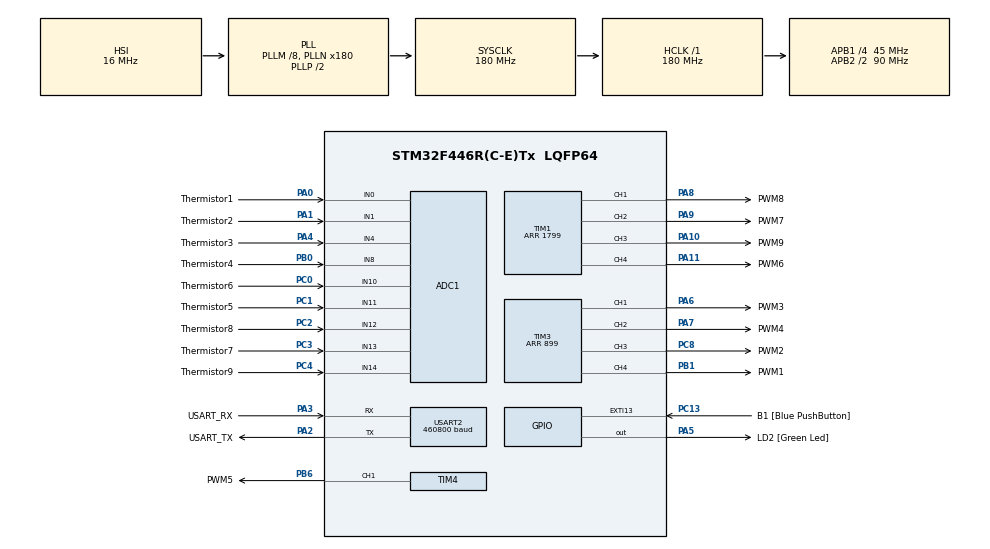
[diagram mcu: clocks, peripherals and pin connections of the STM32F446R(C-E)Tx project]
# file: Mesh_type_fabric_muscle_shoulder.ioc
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ADC1.Channel-0\#ChannelRegularConversion=ADC_CHANNEL_0
ADC1.Channel-10\#ChannelRegularConversion=ADC_CHANNEL_11
ADC1.Channel-11\#ChannelRegularConversion=ADC_CHANNEL_12
ADC1.Channel-12\#ChannelRegularConversion=ADC_CHANNEL_13
ADC1.Channel-13\#ChannelRegularConversion=ADC_CHANNEL_14
ADC1.Channel-5\#ChannelRegularConversion=ADC_CHANNEL_1
ADC1.Channel-6\#ChannelRegularConversion=ADC_CHANNEL_4
ADC1.Channel-8\#ChannelRegularConversion=ADC_CHANNEL_8
ADC1.Channel-9\#ChannelRegularConversion=ADC_CHANNEL_10
ADC1.ContinuousConvMode=ENABLE
ADC1.DMAContinuousRequests=ENABLE
ADC1.EOCSelection=ADC_EOC_SEQ_CONV
ADC1.ExternalTrigConv=ADC_EXTERNALTRIGCONV_T8_TRGO
ADC1.InjNumberOfConversion=0
ADC1.NbrOfConversion=9
ADC1.NbrOfConversionFlag=1
ADC1.Rank-0\#ChannelRegularConversion=1
ADC1.Rank-10\#ChannelRegularConversion=6
ADC1.Rank-11\#ChannelRegularConversion=7
ADC1.Rank-12\#ChannelRegularConversion=8
ADC1.Rank-13\#ChannelRegularConversion=9
ADC1.Rank-5\#ChannelRegularConversion=2
ADC1.Rank-6\#ChannelRegularConversion=3
ADC1.Rank-8\#ChannelRegularConversion=4
ADC1.Rank-9\#ChannelRegularConversion=5
ADC1.SamplingTime-0\#ChannelRegularConversion=ADC_SAMPLETIME_480CYCLES
ADC1.SamplingTime-10\#ChannelRegularConversion=ADC_SAMPLETIME_480CYCLES
ADC1.SamplingTime-11\#ChannelRegularConversion=ADC_SAMPLETIME_480CYCLES
ADC1.SamplingTime-12\#ChannelRegularConversion=ADC_SAMPLETIME_480CYCLES
ADC1.SamplingTime-13\#ChannelRegularConversion=ADC_SAMPLETIME_480CYCLES
ADC1.SamplingTime-5\#ChannelRegularConversion=ADC_SAMPLETIME_480CYCLES
ADC1.SamplingTime-6\#ChannelRegularConversion=ADC_SAMPLETIME_480CYCLES
ADC1.SamplingTime-8\#ChannelRegularConversion=ADC_SAMPLETIME_480CYCLES
ADC1.SamplingTime-9\#ChannelRegularConversion=ADC_SAMPLETIME_480CYCLES
ADC1.ScanConvMode=ENABLE
ADC1.master=1
Dma.ADC1.0.Direction=DMA_PERIPH_TO_MEMORY
Dma.ADC1.0.FIFOMode=DMA_FIFOMODE_DISABLE
Dma.ADC1.0.Instance=DMA2_Stream0
Dma.ADC1.0.MemDataAlignment=DMA_MDATAALIGN_HALFWORD
Dma.ADC1.0.MemInc=DMA_MINC_ENABLE
Dma.ADC1.0.Mode=DMA_CIRCULAR
Dma.ADC1.0.PeriphDataAlignment=DMA_PDATAALIGN_HALFWORD
Dma.ADC1.0.PeriphInc=DMA_PINC_DISABLE
Dma.ADC1.0.Priority=DMA_PRIORITY_LOW
Dma.Request0=ADC1
Dma.Request1=USART2_RX
Dma.USART2_RX.1.Direction=DMA_PERIPH_TO_MEMORY
Dma.USART2_RX.1.FIFOMode=DMA_FIFOMODE_DISABLE
Dma.USART2_RX.1.Instance=DMA1_Stream5
Dma.USART2_RX.1.MemDataAlignment=DMA_MDATAALIGN_BYTE
Dma.USART2_RX.1.MemInc=DMA_MINC_ENABLE
Dma.USART2_RX.1.Mode=DMA_CIRCULAR
Dma.USART2_RX.1.PeriphDataAlignment=DMA_PDATAALIGN_BYTE
Dma.USART2_RX.1.PeriphInc=DMA_PINC_DISABLE
Dma.USART2_RX.1.Priority=DMA_PRIORITY_LOW
Mcu.Family=STM32F4
Mcu.Name=STM32F446R(C-E)Tx
Mcu.Package=LQFP64
NVIC.ADC_IRQn=true\:0\:0\:false\:false\:true\:true\:true\:true
NVIC.DMA1_Stream5_IRQn=true\:0\:0\:false\:false\:true\:false\:true\:true
NVIC.DMA2_Stream0_IRQn=true\:0\:0\:false\:false\:true\:false\:true\:true
NVIC.PriorityGroup=NVIC_PRIORITYGROUP_0
NVIC.TIM2_IRQn=true\:0\:0\:false\:false\:true\:true\:true\:true
NVIC.USART2_IRQn=true\:0\:0\:false\:false\:true\:true\:true\:true
PA0-WKUP.GPIO_Label=Thermistor1
PA0-WKUP.Signal=ADCx_IN0
PA1.GPIO_Label=Thermistor2
PA1.Signal=ADCx_IN1
PA10.GPIO_Label=PWM9
PA10.GPIO_Speed=GPIO_SPEED_FREQ_VERY_HIGH
PA10.Signal=S_TIM1_CH3
PA11.GPIO_Label=PWM6
PA11.GPIO_Speed=GPIO_SPEED_FREQ_VERY_HIGH
PA11.Signal=S_TIM1_CH4
PA13.GPIO_Label=TMS
PA13.Mode=Serial_Wire
PA13.Signal=SYS_JTMS-SWDIO
PA14.GPIO_Label=TCK
PA14.Mode=Serial_Wire
PA14.Signal=SYS_JTCK-SWCLK
PA2.GPIO_Label=USART_TX
PA2.Mode=Asynchronous
PA2.Signal=USART2_TX
PA3.GPIO_Label=USART_RX
PA3.Mode=Asynchronous
PA3.Signal=USART2_RX
PA4.GPIO_Label=Thermistor3
PA4.Signal=ADCx_IN4
PA5.GPIO_Label=LD2 [Green Led]
PA5.Signal=GPIO_Output
PA6.GPIO_Label=PWM3
PA6.GPIO_Speed=GPIO_SPEED_FREQ_VERY_HIGH
PA6.Signal=S_TIM3_CH1
PA7.GPIO_Label=PWM4
PA7.GPIO_Speed=GPIO_SPEED_FREQ_VERY_HIGH
PA7.Signal=S_TIM3_CH2
PA8.GPIO_Label=PWM8
PA8.GPIO_Speed=GPIO_SPEED_FREQ_VERY_HIGH
PA8.Signal=S_TIM1_CH1
PA9.GPIO_Label=PWM7
PA9.GPIO_Speed=GPIO_SPEED_FREQ_VERY_HIGH
PA9.Signal=S_TIM1_CH2
PB0.GPIO_Label=Thermistor4
PB0.Signal=ADCx_IN8
PB1.GPIO_Label=PWM1
PB1.GPIO_Speed=GPIO_SPEED_FREQ_VERY_HIGH
PB1.Signal=S_TIM3_CH4
PB3.GPIO_Label=SWO
PB3.Signal=SYS_JTDO-SWO
PB6.GPIO_Label=PWM5
PB6.GPIO_Speed=GPIO_SPEED_FREQ_VERY_HIGH
PB6.Signal=S_TIM4_CH1
PC0.GPIO_Label=Thermistor6
PC0.Signal=ADCx_IN10
PC1.GPIO_Label=Thermistor5
PC1.Signal=ADCx_IN11
PC13.GPIO_Label=B1 [Blue PushButton]
PC13.GPIO_ModeDefaultEXTI=GPIO_MODE_IT_FALLING
PC13.Signal=GPXTI13
PC14-OSC32_IN.Mode=LSE-External-Oscillator
PC14-OSC32_IN.Signal=RCC_OSC32_IN
PC15-OSC32_OUT.Mode=LSE-External-Oscillator
PC15-OSC32_OUT.Signal=RCC_OSC32_OUT
PC2.GPIO_Label=Thermistor8
PC2.Signal=ADCx_IN12
PC3.GPIO_Label=Thermistor7
PC3.Signal=ADCx_IN13
PC4.GPIO_Label=Thermistor9
PC4.Signal=ADCx_IN14
PC8.GPIO_Label=PWM2
PC8.GPIO_Speed=GPIO_SPEED_FREQ_VERY_HIGH
PC8.Signal=S_TIM3_CH3
PH0-OSC_IN.Mode=HSE-External-Oscillator
PH0-OSC_IN.Signal=RCC_OSC_IN
PH1-OSC_OUT.Mode=HSE-External-Oscillator
PH1-OSC_OUT.Signal=RCC_OSC_OUT
ProjectManager.HeapSize=0x200
ProjectManager.StackSize=0x400
ProjectManager.TargetToolchain=STM32CubeIDE
RCC.48MHZClocksFreq_Value=84000000
RCC.AHBFreq_Value=180000000
RCC.APB1CLKDivider=RCC_HCLK_DIV4
RCC.APB1Freq_Value=45000000
RCC.APB1TimFreq_Value=90000000
RCC.APB2CLKDivider=RCC_HCLK_DIV2
RCC.APB2Freq_Value=90000000
RCC.APB2TimFreq_Value=180000000
RCC.CortexFreq_Value=180000000
RCC.FLatency-AdvancedSettings=FLASH_LATENCY_5
RCC.HCLKFreq_Value=180000000
RCC.HSE_VALUE=8000000
RCC.HSI_VALUE=16000000
RCC.PLLM=8
RCC.PLLN=180
RCC.SYSCLKFreq_VALUE=180000000
RCC.SYSCLKSource=RCC_SYSCLKSOURCE_PLLCLK
RCC.USBFreq_Value=180000000
RCC.VCOOutputFreq_Value=360000000
SH.ADCx_IN0.0=ADC1_IN0,IN0
SH.ADCx_IN1.0=ADC1_IN1,IN1
SH.ADCx_IN10.0=ADC1_IN10,IN10
SH.ADCx_IN11.0=ADC1_IN11,IN11
SH.ADCx_IN12.0=ADC1_IN12,IN12
SH.ADCx_IN13.0=ADC1_IN13,IN13
SH.ADCx_IN14.0=ADC1_IN14,IN14
SH.ADCx_IN4.0=ADC1_IN4,IN4
SH.ADCx_IN8.0=ADC1_IN8,IN8
SH.S_TIM1_CH1.0=TIM1_CH1,PWM Generation1 CH1
SH.S_TIM1_CH2.0=TIM1_CH2,PWM Generation2 CH2
SH.S_TIM1_CH3.0=TIM1_CH3,PWM Generation3 CH3
SH.S_TIM1_CH4.0=TIM1_CH4,PWM Generation4 CH4
SH.S_TIM3_CH1.0=TIM3_CH1,PWM Generation1 CH1
SH.S_TIM3_CH2.0=TIM3_CH2,PWM Generation2 CH2
SH.S_TIM3_CH3.0=TIM3_CH3,PWM Generation3 CH3
SH.S_TIM3_CH4.0=TIM3_CH4,PWM Generation4 CH4
SH.S_TIM4_CH1.0=TIM4_CH1,PWM Generation1 CH1
TIM1.AutoReloadPreload=TIM_AUTORELOAD_PRELOAD_DISABLE
TIM1.Channel-PWM\ Generation1\ CH1=TIM_CHANNEL_1
TIM1.Channel-PWM\ Generation2\ CH2=TIM_CHANNEL_2
TIM1.Channel-PWM\ Generation3\ CH3=TIM_CHANNEL_3
TIM1.Channel-PWM\ Generation4\ CH4=TIM_CHANNEL_4
TIM1.Period=1799
TIM2.Period=899999
TIM2.TIM_MasterOutputTrigger=TIM_TRGO_UPDATE
TIM3.AutoReloadPreload=TIM_AUTORELOAD_PRELOAD_DISABLE
TIM3.Channel-PWM\ Generation1\ CH1=TIM_CHANNEL_1
TIM3.Channel-PWM\ Generation2\ CH2=TIM_CHANNEL_2
TIM3.Channel-PWM\ Generation3\ CH3=TIM_CHANNEL_3
TIM3.Channel-PWM\ Generation4\ CH4=TIM_CHANNEL_4
TIM3.Period=899
TIM4.AutoReloadPreload=TIM_AUTORELOAD_PRELOAD_DISABLE
TIM4.Channel-PWM\ Generation1\ CH1=TIM_CHANNEL_1
TIM4.Period=899
TIM8.Period=9999
TIM8.Prescaler=17
TIM8.TIM_MasterOutputTrigger=TIM_TRGO_UPDATE
USART2.BaudRate=460800
USART2.VirtualMode=VM_ASYNC
VP_TIM1_VS_ClockSourceINT.Mode=Internal
VP_TIM2_VS_ClockSourceINT.Mode=Internal
VP_TIM3_VS_ClockSourceINT.Mode=Internal
VP_TIM4_VS_ClockSourceINT.Mode=Internal
VP_TIM8_VS_ClockSourceINT.Mode=Internal
board=NUCLEO-F446RE

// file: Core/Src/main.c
/* USER CODE BEGIN Header */
/**
  ******************************************************************************
  * @file           : main.c
  * @brief          : Main program body
  ******************************************************************************
  * @attention
  *
  * Copyright (c) 2025 STMicroelectronics.
  * All rights reserved.
  *
  * This software is licensed under terms that can be found in the LICENSE file
  * in the root directory of this software component.
  * If no LICENSE file comes with this software, it is provided AS-IS.
  *
  ******************************************************************************
  */
/* USER CODE END Header */
#include "main.h"

/* USER CODE BEGIN Includes */
#include <stdio.h>
#include <stdbool.h>
#include <stdint.h>
#include <string.h>
#include "ma100bf103a.h"
#include "pidcontroller.h"
/* USER CODE END Includes */

/* USER CODE BEGIN PTD */
#define CHANNELS 9
#define THERMISTOR_SAMPLES 10
#define USART2_RX_BUFFER_SIZE  128
/* USER CODE END PTD */

ADC_HandleTypeDef hadc1;
DMA_HandleTypeDef hdma_adc1;

TIM_HandleTypeDef htim1;
TIM_HandleTypeDef htim2;
TIM_HandleTypeDef htim3;
TIM_HandleTypeDef htim4;
TIM_HandleTypeDef htim8;

UART_HandleTypeDef huart2;
DMA_HandleTypeDef hdma_usart2_rx;

/* USER CODE BEGIN PV */
volatile bool isMainFlag = false;
volatile bool isAdcFlag = false;

static uint16_t adcBuf[CHANNELS * THERMISTOR_SAMPLES];
volatile uint16_t adcMAF[CHANNELS];

typedef struct {
    TIM_HandleTypeDef *htim;
    uint32_t           channel;
    uint16_t           raw;     /* ADC 원시값 */
    float              temp;    /* 변환된 온도(°C) */
    float              set;     /* 목표 온도(°C) */
    PID_t              pid;     /* PID 상태 */
} Controller;

static Controller ctrl[CHANNELS] = {
		{ &htim3, TIM_CHANNEL_1 }, { &htim3, TIM_CHANNEL_2 }, { &htim3, TIM_CHANNEL_3 }, { &htim3, TIM_CHANNEL_4 },
	    { &htim4, TIM_CHANNEL_1 },
		{ &htim1, TIM_CHANNEL_1 }, { &htim1, TIM_CHANNEL_2 }, { &htim1, TIM_CHANNEL_3 }, { &htim1, TIM_CHANNEL_4 }
	};

static uint32_t lastCnt8;

uint8_t usart2_rx_buffer[USART2_RX_BUFFER_SIZE];
/* USER CODE END PV */

void SystemClock_Config(void);
static void MX_GPIO_Init(void);
static void MX_DMA_Init(void);
static void MX_USART2_UART_Init(void);
static void MX_ADC1_Init(void);
static void MX_TIM2_Init(void);
static void MX_TIM1_Init(void);
static void MX_TIM3_Init(void);
static void MX_TIM4_Init(void);
static void MX_TIM8_Init(void);
/* USER CODE BEGIN PFP */
int _write(int file, char* p, int len){
    HAL_UART_Transmit(&huart2, (uint8_t*)p, len, 1);
    return len;
}
static float GetDeltaTime(void);
void ControlInit(void);
/* USER CODE END PFP */

int main(void)
{

  /* MCU Configuration--------------------------------------------------------*/

  /* Reset of all peripherals, Initializes the Flash interface and the Systick. */
  HAL_Init();

  /* Configure the system clock */
  SystemClock_Config();

  /* Initialize all configured peripherals */
  MX_GPIO_Init();
  MX_DMA_Init();
  MX_USART2_UART_Init();
  MX_ADC1_Init();
  MX_TIM2_Init();
  MX_TIM1_Init();
  MX_TIM3_Init();
  MX_TIM4_Init();
  MX_TIM8_Init();
  /* USER CODE BEGIN 2 */
  HAL_TIM_Base_Start_IT(&htim2);
  HAL_TIM_Base_Start(&htim8);
  HAL_ADC_Start_DMA(&hadc1, (uint32_t*)adcBuf, CHANNELS * THERMISTOR_SAMPLES);
  ControlInit();
  /* USER CODE END 2 */

  /* Infinite loop */
  /* USER CODE BEGIN WHILE */
  while (1)
  {
	  if(isMainFlag == true && isAdcFlag == true){
		  isMainFlag = false;
		  isAdcFlag = false;

		  float dt = GetDeltaTime();

		  for(int ch = 0; ch < CHANNELS; ch++) {
			  ctrl[ch].raw = adcMAF[ch];
			  ctrl[ch].temp = thermistor_celsius(ctrl[ch].raw);

		  float duty = PID_Update(&ctrl[ch].pid, ctrl[ch].set,ctrl[ch].temp, dt);
		  uint32_t period = __HAL_TIM_GET_AUTORELOAD(ctrl[ch].htim) + 1;
		  uint32_t pulse  = (uint32_t)(duty * period * 0.01f);
		  __HAL_TIM_SET_COMPARE(ctrl[ch].htim, ctrl[ch].channel, pulse);
		  }

		  printf("%.2f\r\n", ctrl[0].temp);
	  }
    /* USER CODE END WHILE */

  }
}

void SystemClock_Config(void)
{
  RCC_OscInitTypeDef RCC_OscInitStruct = {0};
  RCC_ClkInitTypeDef RCC_ClkInitStruct = {0};

  /** Configure the main internal regulator output voltage
  */
  __HAL_RCC_PWR_CLK_ENABLE();
  __HAL_PWR_VOLTAGESCALING_CONFIG(PWR_REGULATOR_VOLTAGE_SCALE1);

  /** Initializes the RCC Oscillators according to the specified parameters
  * in the RCC_OscInitTypeDef structure.
  */
  RCC_OscInitStruct.OscillatorType = RCC_OSCILLATORTYPE_HSI;
  RCC_OscInitStruct.HSIState = RCC_HSI_ON;
  RCC_OscInitStruct.HSICalibrationValue = RCC_HSICALIBRATION_DEFAULT;
  RCC_OscInitStruct.PLL.PLLState = RCC_PLL_ON;
  RCC_OscInitStruct.PLL.PLLSource = RCC_PLLSOURCE_HSI;
  RCC_OscInitStruct.PLL.PLLM = 8;
  RCC_OscInitStruct.PLL.PLLN = 180;
  RCC_OscInitStruct.PLL.PLLP = RCC_PLLP_DIV2;
  RCC_OscInitStruct.PLL.PLLQ = 2;
  RCC_OscInitStruct.PLL.PLLR = 2;
  if (HAL_RCC_OscConfig(&RCC_OscInitStruct) != HAL_OK)
  {
    Error_Handler();
  }

  /** Activate the Over-Drive mode
  */
  if (HAL_PWREx_EnableOverDrive() != HAL_OK)
  {
    Error_Handler();
  }

  /** Initializes the CPU, AHB and APB buses clocks
  */
  RCC_ClkInitStruct.ClockType = RCC_CLOCKTYPE_HCLK|RCC_CLOCKTYPE_SYSCLK
                              |RCC_CLOCKTYPE_PCLK1|RCC_CLOCKTYPE_PCLK2;
  RCC_ClkInitStruct.SYSCLKSource = RCC_SYSCLKSOURCE_PLLCLK;
  RCC_ClkInitStruct.AHBCLKDivider = RCC_SYSCLK_DIV1;
  RCC_ClkInitStruct.APB1CLKDivider = RCC_HCLK_DIV4;
  RCC_ClkInitStruct.APB2CLKDivider = RCC_HCLK_DIV2;

  if (HAL_RCC_ClockConfig(&RCC_ClkInitStruct, FLASH_LATENCY_5) != HAL_OK)
  {
    Error_Handler();
  }
}

static void MX_ADC1_Init(void)
{

  ADC_ChannelConfTypeDef sConfig = {0};

  /** Configure the global features of the ADC (Clock, Resolution, Data Alignment and number of conversion)
  */
  hadc1.Instance = ADC1;
  hadc1.Init.ClockPrescaler = ADC_CLOCK_SYNC_PCLK_DIV4;
  hadc1.Init.Resolution = ADC_RESOLUTION_12B;
  hadc1.Init.ScanConvMode = ENABLE;
  hadc1.Init.ContinuousConvMode = ENABLE;
  hadc1.Init.DiscontinuousConvMode = DISABLE;
  hadc1.Init.ExternalTrigConvEdge = ADC_EXTERNALTRIGCONVEDGE_RISING;
  hadc1.Init.ExternalTrigConv = ADC_EXTERNALTRIGCONV_T8_TRGO;
  hadc1.Init.DataAlign = ADC_DATAALIGN_RIGHT;
  hadc1.Init.NbrOfConversion = 9;
  hadc1.Init.DMAContinuousRequests = ENABLE;
  hadc1.Init.EOCSelection = ADC_EOC_SEQ_CONV;
  if (HAL_ADC_Init(&hadc1) != HAL_OK)
  {
    Error_Handler();
  }

  /** Configure for the selected ADC regular channel its corresponding rank in the sequencer and its sample time.
  */
  sConfig.Channel = ADC_CHANNEL_0;
  sConfig.Rank = 1;
  sConfig.SamplingTime = ADC_SAMPLETIME_480CYCLES;
  if (HAL_ADC_ConfigChannel(&hadc1, &sConfig) != HAL_OK)
  {
    Error_Handler();
  }

  /** Configure for the selected ADC regular channel its corresponding rank in the sequencer and its sample time.
  */
  sConfig.Channel = ADC_CHANNEL_1;
  sConfig.Rank = 2;
  if (HAL_ADC_ConfigChannel(&hadc1, &sConfig) != HAL_OK)
  {
    Error_Handler();
  }

  /** Configure for the selected ADC regular channel its corresponding rank in the sequencer and its sample time.
  */
  sConfig.Channel = ADC_CHANNEL_4;
  sConfig.Rank = 3;
  if (HAL_ADC_ConfigChannel(&hadc1, &sConfig) != HAL_OK)
  {
    Error_Handler();
  }

  /** Configure for the selected ADC regular channel its corresponding rank in the sequencer and its sample time.
  */
  sConfig.Channel = ADC_CHANNEL_8;
  sConfig.Rank = 4;
  if (HAL_ADC_ConfigChannel(&hadc1, &sConfig) != HAL_OK)
  {
    Error_Handler();
  }

  /** Configure for the selected ADC regular channel its corresponding rank in the sequencer and its sample time.
  */
  sConfig.Channel = ADC_CHANNEL_10;
  sConfig.Rank = 5;
  if (HAL_ADC_ConfigChannel(&hadc1, &sConfig) != HAL_OK)
  {
    Error_Handler();
  }

  /** Configure for the selected ADC regular channel its corresponding rank in the sequencer and its sample time.
  */
  sConfig.Channel = ADC_CHANNEL_11;
  sConfig.Rank = 6;
  if (HAL_ADC_ConfigChannel(&hadc1, &sConfig) != HAL_OK)
  {
    Error_Handler();
  }

  /** Configure for the selected ADC regular channel its corresponding rank in the sequencer and its sample time.
  */
  sConfig.Channel = ADC_CHANNEL_12;
  sConfig.Rank = 7;
  if (HAL_ADC_ConfigChannel(&hadc1, &sConfig) != HAL_OK)
  {
    Error_Handler();
  }

  /** Configure for the selected ADC regular channel its corresponding rank in the sequencer and its sample time.
  */
  sConfig.Channel = ADC_CHANNEL_13;
  sConfig.Rank = 8;
  if (HAL_ADC_ConfigChannel(&hadc1, &sConfig) != HAL_OK)
  {
    Error_Handler();
  }

  /** Configure for the selected ADC regular channel its corresponding rank in the sequencer and its sample time.
  */
  sConfig.Channel = ADC_CHANNEL_14;
  sConfig.Rank = 9;
  if (HAL_ADC_ConfigChannel(&hadc1, &sConfig) != HAL_OK)
  {
    Error_Handler();
  }

}

static void MX_TIM1_Init(void)
{

  TIM_ClockConfigTypeDef sClockSourceConfig = {0};
  TIM_MasterConfigTypeDef sMasterConfig = {0};
  TIM_OC_InitTypeDef sConfigOC = {0};
  TIM_BreakDeadTimeConfigTypeDef sBreakDeadTimeConfig = {0};

  htim1.Instance = TIM1;
  htim1.Init.Prescaler = 0;
  htim1.Init.CounterMode = TIM_COUNTERMODE_UP;
  htim1.Init.Period = 1799;
  htim1.Init.ClockDivision = TIM_CLOCKDIVISION_DIV1;
  htim1.Init.RepetitionCounter = 0;
  htim1.Init.AutoReloadPreload = TIM_AUTORELOAD_PRELOAD_DISABLE;
  if (HAL_TIM_Base_Init(&htim1) != HAL_OK)
  {
    Error_Handler();
  }
  sClockSourceConfig.ClockSource = TIM_CLOCKSOURCE_INTERNAL;
  if (HAL_TIM_ConfigClockSource(&htim1, &sClockSourceConfig) != HAL_OK)
  {
    Error_Handler();
  }
  if (HAL_TIM_PWM_Init(&htim1) != HAL_OK)
  {
    Error_Handler();
  }
  sMasterConfig.MasterOutputTrigger = TIM_TRGO_RESET;
  sMasterConfig.MasterSlaveMode = TIM_MASTERSLAVEMODE_DISABLE;
  if (HAL_TIMEx_MasterConfigSynchronization(&htim1, &sMasterConfig) != HAL_OK)
  {
    Error_Handler();
  }
  sConfigOC.OCMode = TIM_OCMODE_PWM1;
  sConfigOC.Pulse = 0;
  sConfigOC.OCPolarity = TIM_OCPOLARITY_HIGH;
  sConfigOC.OCNPolarity = TIM_OCNPOLARITY_HIGH;
  sConfigOC.OCFastMode = TIM_OCFAST_DISABLE;
  sConfigOC.OCIdleState = TIM_OCIDLESTATE_RESET;
  sConfigOC.OCNIdleState = TIM_OCNIDLESTATE_RESET;
  if (HAL_TIM_PWM_ConfigChannel(&htim1, &sConfigOC, TIM_CHANNEL_1) != HAL_OK)
  {
    Error_Handler();
  }
  if (HAL_TIM_PWM_ConfigChannel(&htim1, &sConfigOC, TIM_CHANNEL_2) != HAL_OK)
  {
    Error_Handler();
  }
  if (HAL_TIM_PWM_ConfigChannel(&htim1, &sConfigOC, TIM_CHANNEL_3) != HAL_OK)
  {
    Error_Handler();
  }
  if (HAL_TIM_PWM_ConfigChannel(&htim1, &sConfigOC, TIM_CHANNEL_4) != HAL_OK)
  {
    Error_Handler();
  }
  sBreakDeadTimeConfig.OffStateRunMode = TIM_OSSR_DISABLE;
  sBreakDeadTimeConfig.OffStateIDLEMode = TIM_OSSI_DISABLE;
  sBreakDeadTimeConfig.LockLevel = TIM_LOCKLEVEL_OFF;
  sBreakDeadTimeConfig.DeadTime = 0;
  sBreakDeadTimeConfig.BreakState = TIM_BREAK_DISABLE;
  sBreakDeadTimeConfig.BreakPolarity = TIM_BREAKPOLARITY_HIGH;
  sBreakDeadTimeConfig.AutomaticOutput = TIM_AUTOMATICOUTPUT_DISABLE;
  if (HAL_TIMEx_ConfigBreakDeadTime(&htim1, &sBreakDeadTimeConfig) != HAL_OK)
  {
    Error_Handler();
  }
  HAL_TIM_MspPostInit(&htim1);

}

static void MX_TIM2_Init(void)
{

  TIM_ClockConfigTypeDef sClockSourceConfig = {0};
  TIM_MasterConfigTypeDef sMasterConfig = {0};

  htim2.Instance = TIM2;
  htim2.Init.Prescaler = 0;
  htim2.Init.CounterMode = TIM_COUNTERMODE_UP;
  htim2.Init.Period = 899999;
  htim2.Init.ClockDivision = TIM_CLOCKDIVISION_DIV1;
  htim2.Init.AutoReloadPreload = TIM_AUTORELOAD_PRELOAD_DISABLE;
  if (HAL_TIM_Base_Init(&htim2) != HAL_OK)
  {
    Error_Handler();
  }
  sClockSourceConfig.ClockSource = TIM_CLOCKSOURCE_INTERNAL;
  if (HAL_TIM_ConfigClockSource(&htim2, &sClockSourceConfig) != HAL_OK)
  {
    Error_Handler();
  }
  sMasterConfig.MasterOutputTrigger = TIM_TRGO_UPDATE;
  sMasterConfig.MasterSlaveMode = TIM_MASTERSLAVEMODE_DISABLE;
  if (HAL_TIMEx_MasterConfigSynchronization(&htim2, &sMasterConfig) != HAL_OK)
  {
    Error_Handler();
  }

}

static void MX_TIM3_Init(void)
{

  TIM_ClockConfigTypeDef sClockSourceConfig = {0};
  TIM_MasterConfigTypeDef sMasterConfig = {0};
  TIM_OC_InitTypeDef sConfigOC = {0};

  htim3.Instance = TIM3;
  htim3.Init.Prescaler = 0;
  htim3.Init.CounterMode = TIM_COUNTERMODE_UP;
  htim3.Init.Period = 899;
  htim3.Init.ClockDivision = TIM_CLOCKDIVISION_DIV1;
  htim3.Init.AutoReloadPreload = TIM_AUTORELOAD_PRELOAD_DISABLE;
  if (HAL_TIM_Base_Init(&htim3) != HAL_OK)
  {
    Error_Handler();
  }
  sClockSourceConfig.ClockSource = TIM_CLOCKSOURCE_INTERNAL;
  if (HAL_TIM_ConfigClockSource(&htim3, &sClockSourceConfig) != HAL_OK)
  {
    Error_Handler();
  }
  if (HAL_TIM_PWM_Init(&htim3) != HAL_OK)
  {
    Error_Handler();
  }
  sMasterConfig.MasterOutputTrigger = TIM_TRGO_RESET;
  sMasterConfig.MasterSlaveMode = TIM_MASTERSLAVEMODE_DISABLE;
  if (HAL_TIMEx_MasterConfigSynchronization(&htim3, &sMasterConfig) != HAL_OK)
  {
    Error_Handler();
  }
  sConfigOC.OCMode = TIM_OCMODE_PWM1;
  sConfigOC.Pulse = 0;
  sConfigOC.OCPolarity = TIM_OCPOLARITY_HIGH;
  sConfigOC.OCFastMode = TIM_OCFAST_DISABLE;
  if (HAL_TIM_PWM_ConfigChannel(&htim3, &sConfigOC, TIM_CHANNEL_1) != HAL_OK)
  {
    Error_Handler();
  }
  if (HAL_TIM_PWM_ConfigChannel(&htim3, &sConfigOC, TIM_CHANNEL_2) != HAL_OK)
  {
    Error_Handler();
  }
  if (HAL_TIM_PWM_ConfigChannel(&htim3, &sConfigOC, TIM_CHANNEL_3) != HAL_OK)
  {
    Error_Handler();
  }
  if (HAL_TIM_PWM_ConfigChannel(&htim3, &sConfigOC, TIM_CHANNEL_4) != HAL_OK)
  {
    Error_Handler();
  }
  HAL_TIM_MspPostInit(&htim3);

}

static void MX_TIM4_Init(void)
{

  TIM_ClockConfigTypeDef sClockSourceConfig = {0};
  TIM_MasterConfigTypeDef sMasterConfig = {0};
  TIM_OC_InitTypeDef sConfigOC = {0};

  htim4.Instance = TIM4;
  htim4.Init.Prescaler = 0;
  htim4.Init.CounterMode = TIM_COUNTERMODE_UP;
  htim4.Init.Period = 899;
  htim4.Init.ClockDivision = TIM_CLOCKDIVISION_DIV1;
  htim4.Init.AutoReloadPreload = TIM_AUTORELOAD_PRELOAD_DISABLE;
  if (HAL_TIM_Base_Init(&htim4) != HAL_OK)
  {
    Error_Handler();
  }
  sClockSourceConfig.ClockSource = TIM_CLOCKSOURCE_INTERNAL;
  if (HAL_TIM_ConfigClockSource(&htim4, &sClockSourceConfig) != HAL_OK)
  {
    Error_Handler();
  }
  if (HAL_TIM_PWM_Init(&htim4) != HAL_OK)
  {
    Error_Handler();
  }
  sMasterConfig.MasterOutputTrigger = TIM_TRGO_RESET;
  sMasterConfig.MasterSlaveMode = TIM_MASTERSLAVEMODE_DISABLE;
  if (HAL_TIMEx_MasterConfigSynchronization(&htim4, &sMasterConfig) != HAL_OK)
  {
    Error_Handler();
  }
  sConfigOC.OCMode = TIM_OCMODE_PWM1;
  sConfigOC.Pulse = 0;
  sConfigOC.OCPolarity = TIM_OCPOLARITY_HIGH;
  sConfigOC.OCFastMode = TIM_OCFAST_DISABLE;
  if (HAL_TIM_PWM_ConfigChannel(&htim4, &sConfigOC, TIM_CHANNEL_1) != HAL_OK)
  {
    Error_Handler();
  }
  HAL_TIM_MspPostInit(&htim4);

}

static void MX_TIM8_Init(void)
{

  TIM_ClockConfigTypeDef sClockSourceConfig = {0};
  TIM_MasterConfigTypeDef sMasterConfig = {0};

  htim8.Instance = TIM8;
  htim8.Init.Prescaler = 17;
  htim8.Init.CounterMode = TIM_COUNTERMODE_UP;
  htim8.Init.Period = 9999;
  htim8.Init.ClockDivision = TIM_CLOCKDIVISION_DIV1;
  htim8.Init.RepetitionCounter = 0;
  htim8.Init.AutoReloadPreload = TIM_AUTORELOAD_PRELOAD_DISABLE;
  if (HAL_TIM_Base_Init(&htim8) != HAL_OK)
  {
    Error_Handler();
  }
  sClockSourceConfig.ClockSource = TIM_CLOCKSOURCE_INTERNAL;
  if (HAL_TIM_ConfigClockSource(&htim8, &sClockSourceConfig) != HAL_OK)
  {
    Error_Handler();
  }
  sMasterConfig.MasterOutputTrigger = TIM_TRGO_UPDATE;
  sMasterConfig.MasterSlaveMode = TIM_MASTERSLAVEMODE_DISABLE;
  if (HAL_TIMEx_MasterConfigSynchronization(&htim8, &sMasterConfig) != HAL_OK)
  {
    Error_Handler();
  }

}

static void MX_USART2_UART_Init(void)
{

  huart2.Instance = USART2;
  huart2.Init.BaudRate = 460800;
  huart2.Init.WordLength = UART_WORDLENGTH_8B;
  huart2.Init.StopBits = UART_STOPBITS_1;
  huart2.Init.Parity = UART_PARITY_NONE;
  huart2.Init.Mode = UART_MODE_TX_RX;
  huart2.Init.HwFlowCtl = UART_HWCONTROL_NONE;
  huart2.Init.OverSampling = UART_OVERSAMPLING_16;
  if (HAL_UART_Init(&huart2) != HAL_OK)
  {
    Error_Handler();
  }

}

static void MX_DMA_Init(void)
{

  /* DMA controller clock enable */
  __HAL_RCC_DMA2_CLK_ENABLE();
  __HAL_RCC_DMA1_CLK_ENABLE();

  /* DMA interrupt init */
  /* DMA1_Stream5_IRQn interrupt configuration */
  HAL_NVIC_SetPriority(DMA1_Stream5_IRQn, 0, 0);
  HAL_NVIC_EnableIRQ(DMA1_Stream5_IRQn);
  /* DMA2_Stream0_IRQn interrupt configuration */
  HAL_NVIC_SetPriority(DMA2_Stream0_IRQn, 0, 0);
  HAL_NVIC_EnableIRQ(DMA2_Stream0_IRQn);

}

static void MX_GPIO_Init(void)
{
  GPIO_InitTypeDef GPIO_InitStruct = {0};

  /* GPIO Ports Clock Enable */
  __HAL_RCC_GPIOC_CLK_ENABLE();
  __HAL_RCC_GPIOH_CLK_ENABLE();
  __HAL_RCC_GPIOA_CLK_ENABLE();
  __HAL_RCC_GPIOB_CLK_ENABLE();

  /*Configure GPIO pin Output Level */
  HAL_GPIO_WritePin(LD2_GPIO_Port, LD2_Pin, GPIO_PIN_RESET);

  /*Configure GPIO pin : B1_Pin */
  GPIO_InitStruct.Pin = B1_Pin;
  GPIO_InitStruct.Mode = GPIO_MODE_IT_FALLING;
  GPIO_InitStruct.Pull = GPIO_NOPULL;
  HAL_GPIO_Init(B1_GPIO_Port, &GPIO_InitStruct);

  /*Configure GPIO pin : LD2_Pin */
  GPIO_InitStruct.Pin = LD2_Pin;
  GPIO_InitStruct.Mode = GPIO_MODE_OUTPUT_PP;
  GPIO_InitStruct.Pull = GPIO_NOPULL;
  GPIO_InitStruct.Speed = GPIO_SPEED_FREQ_LOW;
  HAL_GPIO_Init(LD2_GPIO_Port, &GPIO_InitStruct);

}

/* USER CODE BEGIN 4 */
void HAL_TIM_PeriodElapsedCallback(TIM_HandleTypeDef *htim){
	if(htim->Instance==TIM2){
		isMainFlag = true;
	}
}

void HAL_ADC_ConvCpltCallback(ADC_HandleTypeDef* hadc)
{
    uint32_t sum;
    if (hadc->Instance == ADC1){
        for (int ch = 0; ch < CHANNELS; ch++) {
            sum = 0;
            for (int i = 0; i < THERMISTOR_SAMPLES; i++) {
                sum += adcBuf[i * CHANNELS + ch];
            }
            adcMAF[ch] = sum / THERMISTOR_SAMPLES;
        }
        isAdcFlag = true;
    }
}

void ProcessData(uint8_t* data, uint16_t len, UART_HandleTypeDef *huart)
{
    if(huart->Instance == USART2)
    {
        char cmd[128] = {0};
        uint16_t copy_len = (len < 127 ? len : 127);
        memcpy(cmd, data, copy_len);
        cmd[copy_len] = '\0';

        if (strchr(cmd, ',') != NULL)
        {
            float input_p = 0.0f, input_i = 0.0f, input_d = 0.0f;
            if(sscanf(cmd, "%f,%f,%f", &input_p, &input_i, &input_d) == 3)
            {
            	for (int i = 0; i < CHANNELS; ++i) {
            	  ctrl[i].pid.kp = input_p;
            	  ctrl[i].pid.ki = input_i;
            	  ctrl[i].pid.kd = input_d;
            	}
            }
        }
    }
}

static float GetDeltaTime(void)
{
    uint32_t now = __HAL_TIM_GET_COUNTER(&htim8);
    uint32_t diff;
    if (now >= lastCnt8) {
        diff = now - lastCnt8;
    } else {
        /* 오버플로우 처리: CNT 최대는 ARR=9999 */
        diff = (9999 - lastCnt8) + now + 1;
    }
    lastCnt8 = now;
    return diff * 0.0000001f;  /* 0.1µs × diff = sec */
}

void ControlInit(void)
{
    lastCnt8 = __HAL_TIM_GET_COUNTER(&htim8);

    for (int ch = 0; ch < CHANNELS; ch++) {
        ctrl[ch].set = 30.0f;
        PID_Init(&ctrl[ch].pid,
                 6.0f, 2.5f, 0.1f,   /* P, I, D 게인 */
                 0.0f, 100.0f);      /* 출력 클램프 0~100% */
        HAL_TIM_PWM_Start(ctrl[ch].htim, ctrl[ch].channel);
    }
}
/* USER CODE END 4 */

void Error_Handler(void)
{
  __disable_irq();
  while (1)
  {
  }
}
